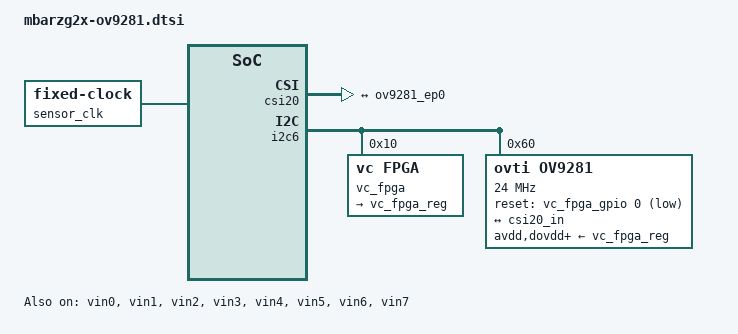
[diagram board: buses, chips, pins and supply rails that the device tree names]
// SPDX-License-Identifier: GPL-2.0-or-later OR MIT
/*
 * Copyright (c) 2023 TQ-Systems GmbH <linux@ew.tq-group.com>, D-82229 Seefeld, Germany.
 * Author: Paul Gerber
 *
 */

/ {
	sensor_clk: sensor-clk {
		#clock-cells = <0>;
		compatible = "fixed-clock";
		clock-frequency = <24000000>;
	};
};

&csi20 {
	status = "okay";

	ports {
		port@0 {
			reg = <0>;
			csi20_in: endpoint {
				clock-lanes = <0>;
				data-lanes = <1 2>;
				remote-endpoint = <&ov9281_ep0>;
			};
		};
	};
};

&i2c6 {
	vc_fpga: fpga@10 {
		reg = <0x10>;
		compatible = "vc,fpga";

		vc_fpga_reg: regulator {
			regulator-name = "CAM_VCC";
		};

		vc_fpga_reset: reset {
			#reset-cells = <0>;
		};

		vc_fpga_gpio: gpio-chip {
			gpio-controller;
			#gpio-cells = <2>;
		};
	};

	ov9281: camera@60 {
		#address-cells = <0x1>;
		#size-cells = <0x0>;
		reg = <0x60>;

		compatible = "ovti,ov9281";

		clock-names = "xvclk";
		clocks = <&sensor_clk>;
		clock-frequency = <24000000>;

		avdd-supply = <&vc_fpga_reg>;
		dovdd-supply = <&vc_fpga_reg>;
		dvdd-supply = <&vc_fpga_reg>;

		/* NOTE: driver implements a wrong logic! */
		reset-gpios = <&vc_fpga_gpio 0 GPIO_ACTIVE_LOW>;

		port@0 {
			reg = <0>;

			ov9281_ep0: endpoint {
				remote-endpoint = <&csi20_in>;
				data-lanes = <1 2>;
				clock-lanes = <0>;
				link-frequencies = /bits/ 64 <400000000>;
			};
		};
	};
};

&vin0 {
	status = "okay";
};

&vin1 {
	status = "okay";
};

&vin2 {
	status = "okay";
};

&vin3 {
	status = "okay";
};

&vin4 {
	status = "okay";
};

&vin5 {
	status = "okay";
};

&vin6 {
	status = "okay";
};

&vin7 {
	status = "okay";
};
